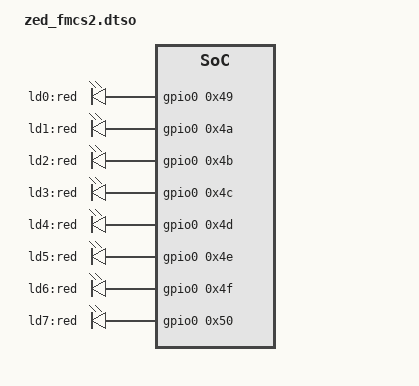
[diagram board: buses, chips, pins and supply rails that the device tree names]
/dts-v1/;
/plugin/;

/{
    fragment@0{
        target-path = "/";
        __overlay__{
            leds {
                compatible = "gpio-leds";

                ld0 {
                    label = "ld0:red";
                    gpios = <&gpio0 0x49 0x0>;
                };

                ld1 {
                    label = "ld1:red";
                    gpios = <&gpio0 0x4a 0x0>;
                };

                ld2 {
                    label = "ld2:red";
                    gpios = <&gpio0 0x4b 0x0>;
                };

                ld3 {
                    label = "ld3:red";
                    gpios = <&gpio0 0x4c 0x0>;
                };

                ld4 {
                    label = "ld4:red";
                    gpios = <&gpio0 0x4d 0x0>;
                };

                ld5 {
                    label = "ld5:red";
                    gpios = <&gpio0 0x4e 0x0>;
                };

                ld6 {
                    label = "ld6:red";
                    gpios = <&gpio0 0x4f 0x0>;
                };

                ld7 {
                    label = "ld7:red";
                    gpios = <&gpio0 0x50 0x0>;
                };
            };
        };
    };
};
